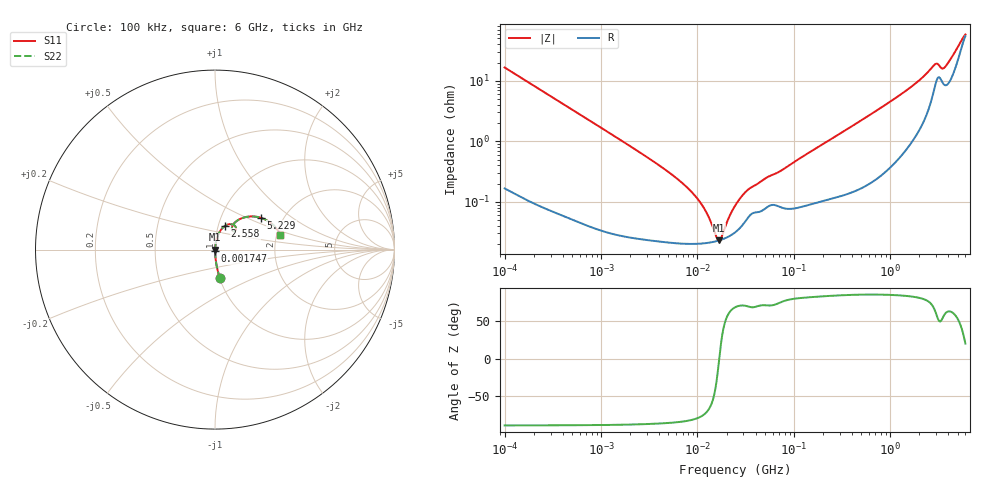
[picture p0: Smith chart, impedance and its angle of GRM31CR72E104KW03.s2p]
!Murata Part Number: GRM31CR72E104KW03
!These Parameters are Measured in Series Mode Connection
!Data Generated on Mar 30, 2021
!  o--ll--o
!Port1  Port2
!  o------o
!Operation Temp=25[degC], DC Bias Voltage=0[V]
!Freq. Start=100[kHz] Stop=6[GHz] 401[Steps]
# Hz S RI R 50
!Freq.(Hz) S11(Real) S11(Imag) S21(Real) S21(Imag) S12(Real) S12(Imag) S22(Real) S22(Imag)
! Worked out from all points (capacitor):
!   401 points, 100 kHz to 6 GHz, reference 50 ohm
!   read as one part in series: C = 95.8 nF near 105.7 kHz
!   lowest |Z| = 23.1 mohm at 16.67 MHz (marker M1)
!   series resonance near 16.81 MHz, so ESL is about 940 pH
!   S11 on the Smith chart (normalised r, x): 100 kHz: 1.00, -0.33; 1.747 MHz: 1.00, -0.02; 2.558 GHz: 1.08, +0.29; 5.229 GHz: 1.55, +0.61; 6 GHz: 2.09, +0.40
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100000  0.0283 -0.1608  0.9717 0.1608  0.9717 0.1608  0.0283 -0.1608
631452  0.00114 -0.0265  0.9989 0.0265  0.9989 0.0265  0.00114 -0.0265
1747106  0.000358 -0.00955  0.9996 0.00955  0.9996 0.00955  0.000358 -0.00955
3987316  0.000237 -0.00402  0.9998 0.00402  0.9998 0.00402  0.000237 -0.00402
6911753  0.000208 -0.00205  0.9998 0.00205  0.9998 0.00205  0.000208 -0.00205
9882758  0.000204 -0.00113  0.9998 0.00113  0.9998 0.00113  0.000204 -0.00113
1.231519e7  0.000209 -0.000646  0.9998 0.000646  0.9998 0.000646  0.000209 -0.000646
1.577428e7  0.000224 -0.000131  0.9998 0.000131  0.9998 0.000131  0.000224 -0.000131
1.666634e7  0.00023 -1.76e-05  0.9998 1.76e-05  0.9998 1.76e-05  0.00023 -1.76e-05
1.760885e7  0.000236 9.56e-05  0.9998 -9.56e-05  0.9998 -9.56e-05  0.000236 9.56e-05
2.134758e7  0.00027 0.000499  0.9997 -0.000499  0.9997 -0.000499  0.00027 0.000499
2.517799e7  0.000323 0.000862  0.9997 -0.000862  0.9997 -0.000862  0.000323 0.000862
3.502398e7  0.0006 0.00157  0.9994 -0.00157  0.9994 -0.00157  0.0006 0.00157
1.546735e8  0.000969 0.00694  0.999 -0.00694  0.999 -0.00694  0.000969 0.00694
9.76689e8  0.00547 0.0437  0.9945 -0.0437  0.9945 -0.0437  0.00547 0.0437
1.74024e9  0.0174 0.0821  0.9826 -0.0821  0.9826 -0.0821  0.0174 0.0821
2.55767e9  0.0553 0.1319  0.9447 -0.1319  0.9447 -0.1319  0.0553 0.1319
2.934752e9  0.1015 0.139  0.8985 -0.139  0.8985 -0.139  0.1015 0.139
3.65708e9  0.0939 0.1195  0.9061 -0.1195  0.9061 -0.1195  0.0939 0.1195
4.313271e9  0.1331 0.1672  0.8669 -0.1672  0.8669 -0.1672  0.1331 0.1672
5.229069e9  0.2573 0.1767  0.7427 -0.1767  0.7427 -0.1767  0.2573 0.1767
6e9  0.3639 0.0822  0.6361 -0.0822  0.6361 -0.0822  0.3639 0.0822
